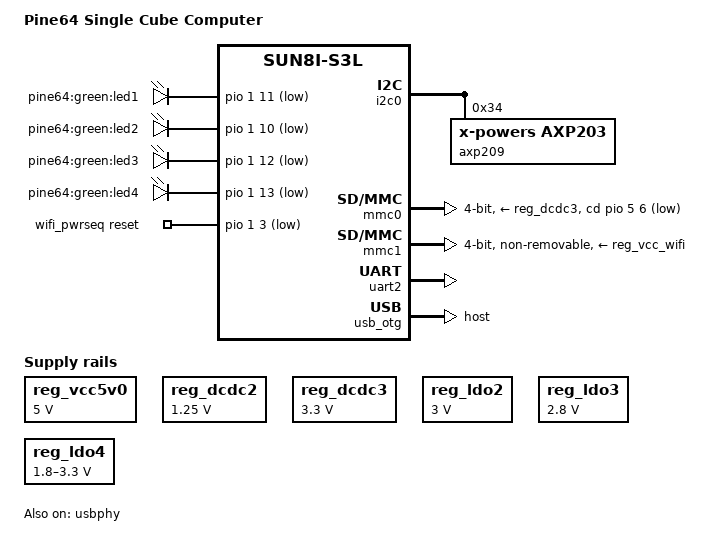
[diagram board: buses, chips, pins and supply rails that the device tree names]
// SPDX-License-Identifier: (GPL-2.0+ OR X11)
/*
 * Copyright 2019 Icenowy Zheng <icenowy@aosc.io>
 */

/dts-v1/;
#include "sun8i-s3l.dtsi"
#include <dt-bindings/gpio/gpio.h>

/ {
	model = "Pine64 Single Cube Computer";
	compatible = "pine64,single-cube-computer", "allwinner,sun8i-s3l";

	aliases {
		serial0 = &uart2;
	};

	chosen {
		stdout-path = "serial0:115200n8";
	};

	leds {
		compatible = "gpio-leds";

		led1 {
			label = "pine64:green:led1";
			gpios = <&pio 1 11 GPIO_ACTIVE_LOW>; /* PB11 */
		};

		led2 {
			label = "pine64:green:led2";
			gpios = <&pio 1 10 GPIO_ACTIVE_LOW>; /* PB10 */
		};

		led3 {
			label = "pine64:green:led3";
			gpios = <&pio 1 12 GPIO_ACTIVE_LOW>; /* PB12 */
		};

		led4 {
			label = "pine64:green:led4";
			gpios = <&pio 1 13 GPIO_ACTIVE_LOW>; /* PB13 */
		};
	};

	reg_vcc5v0: vcc5v0 {
		compatible = "regulator-fixed";
		regulator-name = "vcc5v0";
		regulator-min-microvolt = <5000000>;
		regulator-max-microvolt = <5000000>;
	};

	reg_vcc_wifi: vcc-wifi {
		compatible = "regulator-fixed";
		regulator-name = "vcc-wifi";
		regulator-min-microvolt = <3300000>;
		regulator-max-microvolt = <3300000>;
		enable-active-high;
		gpio = <&pio 1 2 GPIO_ACTIVE_HIGH>; /* PB2 WIFI-EN */
		vin-suply = <&reg_dcdc3>;
		status = "disabled";
	};

	wifi_pwrseq: wifi_pwrseq {
		compatible = "mmc-pwrseq-simple";
		reset-gpios = <&pio 1 3 GPIO_ACTIVE_LOW>; /* PB3 WIFI-RST */
	};
};

&i2c0 {
	status = "okay";

	axp209: pmic@34 {
		compatible = "x-powers,axp203",
			     "x-powers,axp209";
		reg = <0x34>;
		interrupt-parent = <&gic>;
		interrupts = <GIC_SPI 32 IRQ_TYPE_LEVEL_HIGH>;
		interrupt-controller;
		#interrupt-cells = <1>;
	};
};

&mmc0 {
	vmmc-supply = <&reg_dcdc3>;
	bus-width = <4>;
	cd-gpios = <&pio 5 6 GPIO_ACTIVE_LOW>;
	status = "okay";
};

&mmc1 {
	vmmc-supply = <&reg_vcc_wifi>;
	vqmmc-supply = <&reg_dcdc3>;
	bus-width = <4>;
	non-removable;
	status = "okay";
};

#include "axp209.dtsi"

&ac_power_supply {
	status = "okay";
};

&reg_dcdc2 {
	regulator-always-on;
	regulator-min-microvolt = <1250000>;
	regulator-max-microvolt = <1250000>;
	regulator-name = "vdd-sys-cpu-ephy";
};

&reg_dcdc3 {
	regulator-always-on;
	regulator-min-microvolt = <3300000>;
	regulator-max-microvolt = <3300000>;
	regulator-name = "vcc-3v3";
};

&reg_ldo1 {
	regulator-name = "vdd-rtc";
};

&reg_ldo2 {
	regulator-always-on;
	regulator-min-microvolt = <3000000>;
	regulator-max-microvolt = <3000000>;
	regulator-name = "avcc";
};

&reg_ldo3 {
	regulator-min-microvolt = <2800000>;
	regulator-max-microvolt = <2800000>;
	regulator-name = "vcc-pe";
};

&reg_ldo4 {
	regulator-min-microvolt = <1800000>;
	regulator-max-microvolt = <3300000>;
	regulator-name = "avdd-mipi";
};

&uart2 {
	status = "okay";
};

&usb_otg {
	dr_mode = "host";
	status = "okay";
};

&usbphy {
	usb0_vbus-supply = <&reg_vcc5v0>;
	status = "okay";
};
